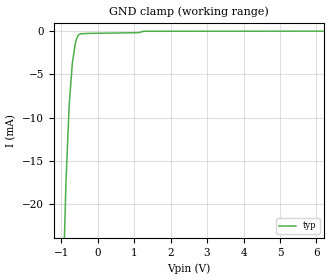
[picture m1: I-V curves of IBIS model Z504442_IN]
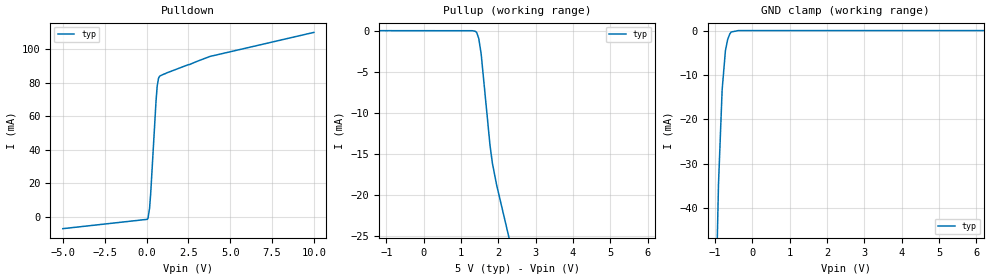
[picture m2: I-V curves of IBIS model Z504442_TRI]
| YOU ARE ONLY AUTHORIZED TO USE THIS SOFTWARE
| ACCORDING TO LICENSOR'S LICENSE RESTRICTIONS.
[IBIS Ver] 3.1
[File Name] sn54ls353j.ibs
[File Rev] 2.0
[Source] Measured and created by ICX Technology
[Date] Friday 7/14/00 9:08:14 AM
[Copyright]
| (C) COPYRIGHT 1993-2000
| MENTOR GRAPHICS CORPORATION
| ICX STANDARD LIBRARY, ICX PROJECT MODELING,
| ICX CUSTOM MODELING, ICX VENDOR MODEL
| ALL RIGHTS RESERVED.
| THE FOLLOWING ARE TRADEMARKS OR SERVICE MARKS OF
| MENTOR GRAPHICS CORPORATION:ICX (R), ICX STANDARD
| LIBRARY(R), ICX PROJECT MODELING(R), ICX CUSTOM
| MODELING(R), qualityIBIS(TM), MODELVIEWER(TM),
| AND MODELEDITOR(TM)
| ALL COPIES OF SOFTWARE, INCLUDING BUT NOT LIMITED TO
| ANY MODIFICATIONS, ENHANCEMENTS OR DERIVATIVE WORKS,
| MUST CONTAIN ALL MENTOR GRAPHICS CORPORATION'S
| NOTICES AND LEGENDS, INCLUDING THOSE EMBEDDED IN
| SOFTWARE AND THOSE AFFIXED TO SOFTWARE MEDIUM
| AND CONTAINER, AS RECEIVED FROM MENTOR GRAPHICS
| CORPORATION.
|  ZAP Model Builder 2.7
[Component] SN54LS353J
[Manufacturer] OnSemiconductor
[Package]
| variable   typ   min   max
R_pkg  .212ohms NA NA
L_pkg  4.758nH NA NA
C_pkg  1.944pF NA NA
[Pin] signal_name  model_name  R_pin  L_pin C_pin
1 _G1 Z504442_IN .224 7.258n 2.683p
2 B Z504442_IN .216 5.258n 2.19p
3 C3A Z504442_IN .208 3.758n 1.697p
4 C2A Z504442_IN .2 2.758n 1.204p
5 C1A Z504442_IN .2 2.758n 1.204p
6 C0A Z504442_IN .208 3.758n 1.697p
7 _Y1 Z504442_TRI .216 5.258n 2.19p
8 GND GND .224 7.258n 2.683p
9 _Y2 Z504442_TRI .224 7.258n 2.683p
10 C0B Z504442_IN .216 5.258n 2.19p
11 C1B Z504442_IN .208 3.758n 1.697p
12 C2B Z504442_IN .2 2.758n 1.204p
13 C3B Z504442_IN .2 2.758n 1.204p
14 A Z504442_IN .208 3.758n 1.697p
15 _G2 Z504442_IN .216 5.258n 2.19p
16 VCC POWER .224 7.258n 2.683p
| Models and submodels in the file (2): Z504442_IN (Input), Z504442_TRI (3-state)
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| (C) COPYRIGHT 1993-2000
| MENTOR GRAPHICS CORPORATION
| ICX STANDARD LIBRARY, ICX PROJECT MODELING,
| ICX CUSTOM MODELING, ICX VENDOR MODEL
| ALL RIGHTS RESERVED.
| THE FOLLOWING ARE TRADEMARKS OR SERVICE MARKS OF
| MENTOR GRAPHICS CORPORATION:ICX (R), ICX STANDARD
| LIBRARY(R), ICX PROJECT MODELING(R), ICX CUSTOM
| MODELING(R), qualityIBIS(TM), MODELVIEWER(TM),
| AND MODELEDITOR(TM)
| ALL COPIES OF SOFTWARE, INCLUDING BUT NOT LIMITED TO
| ANY MODIFICATIONS, ENHANCEMENTS OR DERIVATIVE WORKS,
| MUST CONTAIN ALL MENTOR GRAPHICS CORPORATION'S
| NOTICES AND LEGENDS, INCLUDING THOSE EMBEDDED IN
| SOFTWARE AND THOSE AFFIXED TO SOFTWARE MEDIUM
| AND CONTAINER, AS RECEIVED FROM MENTOR GRAPHICS
| CORPORATION.
| Model Application Version 1.89 2/18/99.
[Model] Z504442_IN
Model_type Input
Vinl = 800.0mV
Vinh = 2.000V
C_comp 4.000pF NA NA
| variable typ   min   max
[Voltage Range] 5.000V NA NA
[GND Clamp Reference] 0.000V NA NA
[POWER Clamp Reference] 5.000V NA NA
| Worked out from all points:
|   GND clamp passes 1 mA (typ) near -0.59 V on its own axis
[GND Clamp]
-5V       -659.4mA   NA         NA
-868.9mV  -17.69mA   NA         NA
-780.2mV  -8.624mA   NA         NA
-693.2mV  -3.718mA   NA         NA
-613.1mV  -1.47mA    NA         NA
-581.1mV  -915.1uA   NA         NA
-527.3mV  -435.9uA   NA         NA
-463.9mV  -294.9uA   NA         NA
-231.9mV  -251.6uA   NA         NA
1.127V    -170.8uA   NA         NA
1.265V    -7.123uA   NA         NA
10V       14.09uA    NA         NA
[POWER Clamp]
-5V       0A         NA         NA
10V       0A         NA         NA
| (C) COPYRIGHT 1993-2000
| MENTOR GRAPHICS CORPORATION
| ICX STANDARD LIBRARY, ICX PROJECT MODELING,
| ICX CUSTOM MODELING, ICX VENDOR MODEL
| ALL RIGHTS RESERVED.
| THE FOLLOWING ARE TRADEMARKS OR SERVICE MARKS OF
| MENTOR GRAPHICS CORPORATION:ICX (R), ICX STANDARD
| LIBRARY(R), ICX PROJECT MODELING(R), ICX CUSTOM
| MODELING(R), qualityIBIS(TM), MODELVIEWER(TM),
| AND MODELEDITOR(TM)
| ALL COPIES OF SOFTWARE, INCLUDING BUT NOT LIMITED TO
| ANY MODIFICATIONS, ENHANCEMENTS OR DERIVATIVE WORKS,
| MUST CONTAIN ALL MENTOR GRAPHICS CORPORATION'S
| NOTICES AND LEGENDS, INCLUDING THOSE EMBEDDED IN
| SOFTWARE AND THOSE AFFIXED TO SOFTWARE MEDIUM
| AND CONTAINER, AS RECEIVED FROM MENTOR GRAPHICS
| CORPORATION.
| Model Application Version 1.89 2/18/99.
[Model] Z504442_TRI
Model_type 3-state
Vref=588.0mV
Rref=588.5ohms
Cref=45.00pF
Vmeas=1.300V
C_comp 8.000pF NA NA
| variable typ   min   max
[Voltage Range] 5.000V NA NA
[POWER Clamp Reference] 5.000V NA NA
[Pullup Reference] 5.000V NA NA
[Pulldown Reference] 0.000V NA NA
[GND Clamp Reference] 0.000V NA NA
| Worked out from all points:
|   slope of the pulldown table from 0 to 0.75 V, typ, clamps not added: 8.83 ohm
|   GND clamp passes 1 mA (typ) near -0.62 V on its own axis
[GND Clamp]
-5V       -2.611A    NA         NA
-1.108V   -126mA     NA         NA
-1.006V   -71.94mA   NA         NA
-908.2mV  -34.66mA   NA         NA
-810.5mV  -13.35mA   NA         NA
-722.7mV  -4.538mA   NA         NA
-662mV    -1.997mA   NA         NA
-605.5mV  -750.4uA   NA         NA
-566.4mV  -312.6uA   NA         NA
-377.6mV  0A         NA         NA
10V       0A         NA         NA
[Pulldown]
-5V       -7.045mA   NA         NA
29.49mV   -1.488mA   NA         NA
87.93mV   -843.7uA   NA         NA
185.1mV   5.282mA    NA         NA
253.7mV   14.57mA    NA         NA
571.3mV   69.55mA    NA         NA
640mV     78.3mA     NA         NA
717.8mV   82.79mA    NA         NA
815.3mV   84.22mA    NA         NA
3.794V    95.84mA    NA         NA
10V       110.2mA    NA         NA
[Pullup]
-5V       19.36uA    NA         NA
1.301V    943.8nA    NA         NA
1.383V    -64.22uA   NA         NA
1.421V    -234.5uA   NA         NA
1.474V    -924.5uA   NA         NA
1.538V    -2.765mA   NA         NA
1.777V    -13.97mA   NA         NA
1.84V     -16.11mA   NA         NA
1.95V     -18.7mA    NA         NA
10V       -174.3mA   NA         NA
[POWER Clamp]
-5V       0A         NA         NA
10V       0A         NA         NA
[Ramp]
| variable typ min max
dV/dt_r 1.967/10.64n NA NA
dV/dt_f 1.967/3.272n NA NA
R_load = 500.0Ohms
